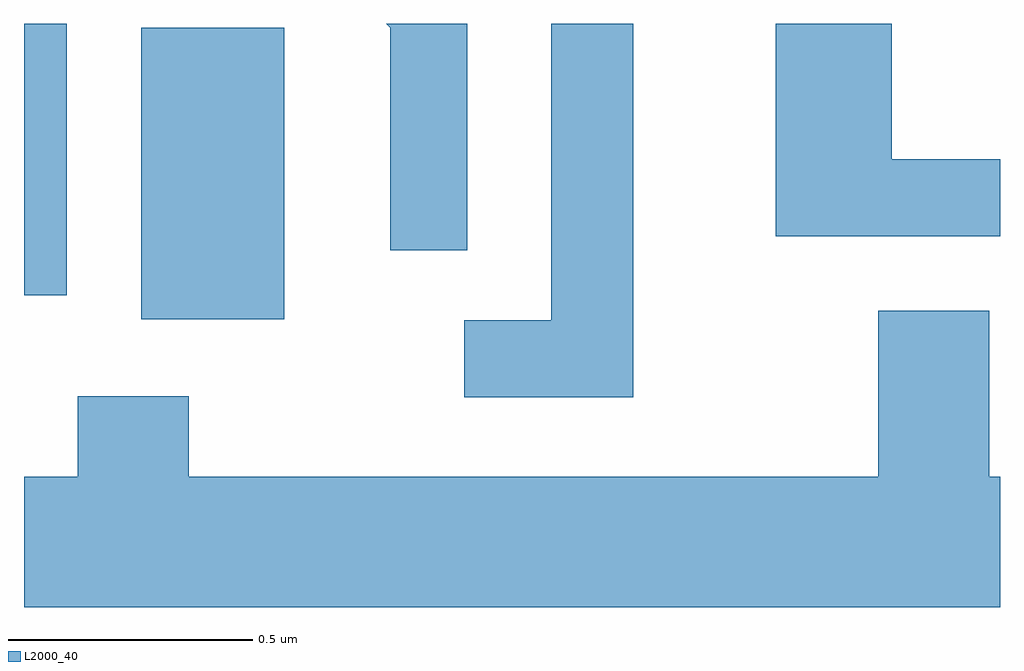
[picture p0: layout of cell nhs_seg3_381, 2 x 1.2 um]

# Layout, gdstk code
import gdstk
lib = gdstk.Library(unit=1e-6, precision=1e-09)
def R(c, l, rs):  # rectangles x0, y0, x1, y1
    for r in rs: c.add(gdstk.rectangle(r[:2], r[2:], *l))
def P(c, l, *ps):  # polygons
    for p in ps: c.add(gdstk.Polygon(p, *l))
L2000_40 = (2000, 40)

nhs_seg3_381 = lib.new_cell('nhs_seg3_381')
R(nhs_seg3_381, L2000_40, [(187.851,1224.286,188.144,1224.884), (187.611,1224.336,187.699,1224.892)])
P(nhs_seg3_381, L2000_40, [(189.611,1224.614),(189.389,1224.614),(189.389,1224.892),(189.151,1224.892),(189.151,1224.456),(189.611,1224.456)],
  [(188.859,1224.892),(188.691,1224.892),(188.691,1224.284),(188.513,1224.284),(188.513,1224.126),(188.859,1224.126)],
  [(188.519,1224.892),(188.353,1224.892),(188.361,1224.884),(188.361,1224.428),(188.519,1224.428)],
  [(189.611,1223.964),(189.589,1223.964),(189.589,1224.304),(189.361,1224.304),(189.361,1223.964),(187.949,1223.964),(187.949,1224.129),(187.721,1224.129),(187.721,1223.964),(187.611,1223.964),(187.611,1223.696),(189.611,1223.696)])

lib.write_gds('nhs_seg3_381.gds')
